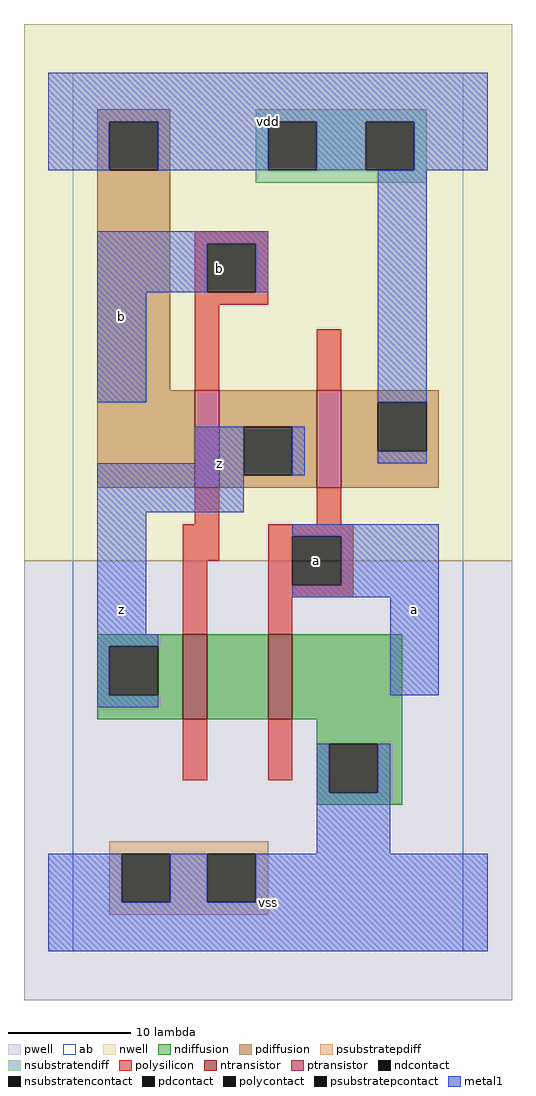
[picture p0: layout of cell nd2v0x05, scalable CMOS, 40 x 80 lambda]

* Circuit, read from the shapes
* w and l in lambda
.subckt nd2v0x05 a b vdd vss z
M1 n1 b z vss nfet w=7 l=2
M2 vss a n1 vss nfet w=7 l=2
M3 z b vdd vdd pfet w=8 l=2
M4 vdd a z vdd pfet w=8 l=2
.ends

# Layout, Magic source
magic
tech scmos
<< ab >>
rect 0 0 32 72
<< pwell >>
rect -4 -4 36 32
<< nwell >>
rect -4 32 36 76
<< polysilicon >>
rect 10 58 16 59
rect 10 54 11 58
rect 15 54 16 58
rect 10 53 16 54
rect 10 46 12 53
rect 20 46 22 51
rect 10 35 12 38
rect 20 35 22 38
rect 9 32 12 35
rect 16 34 23 35
rect 9 26 11 32
rect 16 30 18 34
rect 22 30 23 34
rect 16 29 23 30
rect 16 26 18 29
rect 9 14 11 19
rect 16 14 18 19
<< ndiffusion >>
rect 2 25 9 26
rect 2 21 3 25
rect 7 21 9 25
rect 2 19 9 21
rect 11 19 16 26
rect 18 19 27 26
rect 20 17 27 19
rect 20 13 21 17
rect 25 13 27 17
rect 20 12 27 13
<< pdiffusion >>
rect 2 68 8 69
rect 2 64 3 68
rect 7 64 8 68
rect 2 46 8 64
rect 2 38 10 46
rect 12 43 20 46
rect 12 39 14 43
rect 18 39 20 43
rect 12 38 20 39
rect 22 45 30 46
rect 22 41 25 45
rect 29 41 30 45
rect 22 38 30 41
<< metal1 >>
rect -2 68 34 72
rect -2 64 3 68
rect 7 64 16 68
rect 20 64 24 68
rect 28 64 34 68
rect 2 58 16 59
rect 2 54 11 58
rect 15 54 16 58
rect 2 45 6 54
rect 25 45 29 64
rect 10 40 14 43
rect 2 36 14 40
rect 18 39 19 43
rect 25 40 29 41
rect 2 26 6 36
rect 18 34 30 35
rect 22 30 30 34
rect 18 29 30 30
rect 2 25 7 26
rect 2 21 3 25
rect 26 21 30 29
rect 2 20 7 21
rect 20 13 21 17
rect 25 13 26 17
rect 20 8 26 13
rect -2 4 4 8
rect 8 4 11 8
rect 15 4 34 8
rect -2 0 34 4
<< ntransistor >>
rect 9 19 11 26
rect 16 19 18 26
<< ptransistor >>
rect 10 38 12 46
rect 20 38 22 46
<< polycontact >>
rect 11 54 15 58
rect 18 30 22 34
<< ndcontact >>
rect 3 21 7 25
rect 21 13 25 17
<< pdcontact >>
rect 3 64 7 68
rect 14 39 18 43
rect 25 41 29 45
<< psubstratepcontact >>
rect 4 4 8 8
rect 11 4 15 8
<< nsubstratencontact >>
rect 16 64 20 68
rect 24 64 28 68
<< psubstratepdiff >>
rect 3 8 16 9
rect 3 4 4 8
rect 8 4 11 8
rect 15 4 16 8
rect 3 3 16 4
<< nsubstratendiff >>
rect 15 68 29 69
rect 15 64 16 68
rect 20 64 24 68
rect 28 64 29 68
rect 15 63 29 64
<< labels >>
rlabel metal1 4 28 4 28 6 z
rlabel metal1 4 52 4 52 6 b
rlabel metal1 12 40 12 40 6 z
rlabel polycontact 12 56 12 56 6 b
rlabel metal1 16 4 16 4 6 vss
rlabel polycontact 20 32 20 32 6 a
rlabel metal1 16 68 16 68 6 vdd
rlabel metal1 28 28 28 28 6 a
<< end >>
